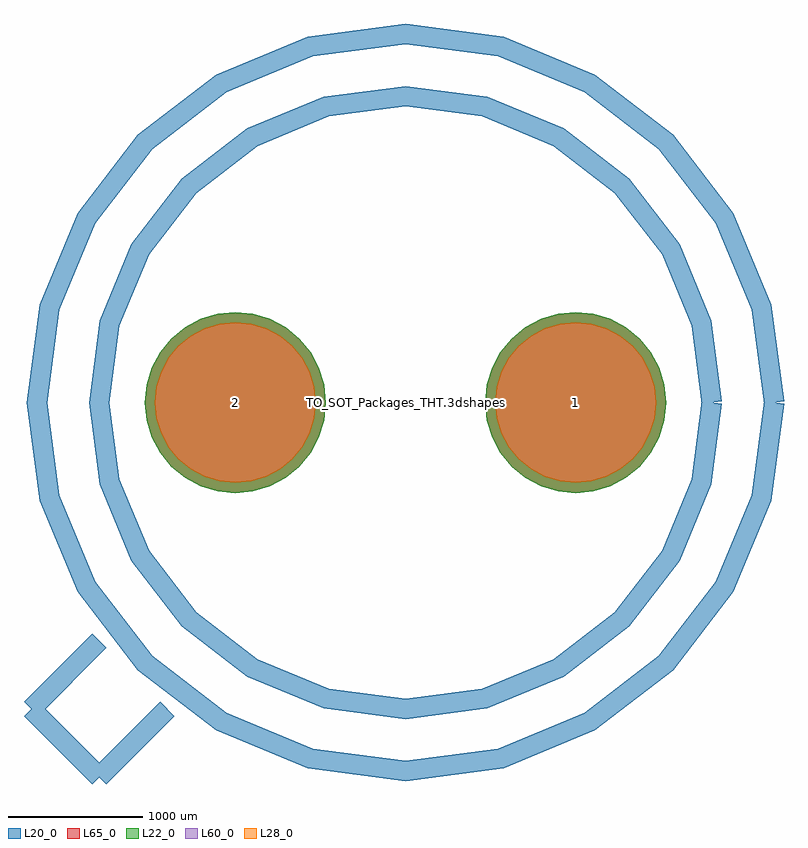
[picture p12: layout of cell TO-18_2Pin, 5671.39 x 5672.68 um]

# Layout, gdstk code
import gdstk
lib = gdstk.Library(unit=1e-6, precision=1e-09)
def P(c, l, *ps):  # polygons
    for p in ps: c.add(gdstk.Polygon(p, *l))
L20_0 = (20, 0)
L22_0 = (22, 0)
L28_0 = (28, 0)
L60_0 = (60, 0)
L65_0 = (65, 0)

to_18_2pin = lib.new_cell('TO-18_2Pin')
P(to_18_2pin, L22_0, [(1945,0),(1932.03,131.686),(1893.619,258.311),(1831.242,375.01),(1747.297,477.297),(1645.01,561.242),(1528.311,623.619),(1401.686,662.03),(1270,675),(1138.314,662.03),(1011.689,623.619),(894.99,561.242),(792.703,477.297),(708.758,375.01),(646.381,258.311),(607.97,131.686),(595,0),(607.97,-131.686),(646.381,-258.311),(708.758,-375.01),(792.703,-477.297),(894.99,-561.242),(1011.689,-623.619),(1138.314,-662.03),(1270,-675),(1401.686,-662.03),(1528.311,-623.619),(1645.01,-561.242),(1747.297,-477.297),(1831.242,-375.01),(1893.619,-258.311),(1932.03,-131.686)],
  [(-595,0),(-607.97,131.686),(-646.381,258.311),(-708.758,375.01),(-792.703,477.297),(-894.99,561.242),(-1011.689,623.619),(-1138.314,662.03),(-1270,675),(-1401.686,662.03),(-1528.311,623.619),(-1645.01,561.242),(-1747.297,477.297),(-1831.242,375.01),(-1893.619,258.311),(-1932.03,131.686),(-1945,0),(-1932.03,-131.686),(-1893.619,-258.311),(-1831.242,-375.01),(-1747.297,-477.297),(-1645.01,-561.242),(-1528.311,-623.619),(-1401.686,-662.03),(-1270,-675),(-1138.314,-662.03),(-1011.689,-623.619),(-894.99,-561.242),(-792.703,-477.297),(-708.758,-375.01),(-646.381,-258.311),(-607.97,-131.686)])
P(to_18_2pin, L28_0, [(1870,0),(1858.471,117.054),(1824.328,229.61),(1768.882,333.342),(1694.264,424.264),(1603.342,498.882),(1499.61,554.328),(1387.054,588.471),(1270,600),(1152.946,588.471),(1040.39,554.328),(936.658,498.882),(845.736,424.264),(771.118,333.342),(715.672,229.61),(681.529,117.054),(670,0),(681.529,-117.054),(715.672,-229.61),(771.118,-333.342),(845.736,-424.264),(936.658,-498.882),(1040.39,-554.328),(1152.946,-588.471),(1270,-600),(1387.054,-588.471),(1499.61,-554.328),(1603.342,-498.882),(1694.264,-424.264),(1768.882,-333.342),(1824.328,-229.61),(1858.471,-117.054)],
  [(-670,0),(-681.529,117.054),(-715.672,229.61),(-771.118,333.342),(-845.736,424.264),(-936.658,498.882),(-1040.39,554.328),(-1152.946,588.471),(-1270,600),(-1387.054,588.471),(-1499.61,554.328),(-1603.342,498.882),(-1694.264,424.264),(-1768.882,333.342),(-1824.328,229.61),(-1858.471,117.054),(-1870,0),(-1858.471,-117.054),(-1824.328,-229.61),(-1768.882,-333.342),(-1694.264,-424.264),(-1603.342,-498.882),(-1499.61,-554.328),(-1387.054,-588.471),(-1270,-600),(-1152.946,-588.471),(-1040.39,-554.328),(-936.658,-498.882),(-845.736,-424.264),(-771.118,-333.342),(-715.672,-229.61),(-681.529,-117.054)])
P(to_18_2pin, L60_0, [(1870,0),(1858.471,117.054),(1824.328,229.61),(1768.882,333.342),(1694.264,424.264),(1603.342,498.882),(1499.61,554.328),(1387.054,588.471),(1270,600),(1152.946,588.471),(1040.39,554.328),(936.658,498.882),(845.736,424.264),(771.118,333.342),(715.672,229.61),(681.529,117.054),(670,0),(681.529,-117.054),(715.672,-229.61),(771.118,-333.342),(845.736,-424.264),(936.658,-498.882),(1040.39,-554.328),(1152.946,-588.471),(1270,-600),(1387.054,-588.471),(1499.61,-554.328),(1603.342,-498.882),(1694.264,-424.264),(1768.882,-333.342),(1824.328,-229.61),(1858.471,-117.054)],
  [(-670,0),(-681.529,117.054),(-715.672,229.61),(-771.118,333.342),(-845.736,424.264),(-936.658,498.882),(-1040.39,554.328),(-1152.946,588.471),(-1270,600),(-1387.054,588.471),(-1499.61,554.328),(-1603.342,498.882),(-1694.264,424.264),(-1768.882,333.342),(-1824.328,229.61),(-1858.471,117.054),(-1870,0),(-1858.471,-117.054),(-1824.328,-229.61),(-1768.882,-333.342),(-1694.264,-424.264),(-1603.342,-498.882),(-1499.61,-554.328),(-1387.054,-588.471),(-1270,-600),(-1152.946,-588.471),(-1040.39,-554.328),(-936.658,-498.882),(-845.736,-424.264),(-771.118,-333.342),(-715.672,-229.61),(-681.529,-117.054)])
P(to_18_2pin, L65_0, [(1945,0),(1932.03,131.686),(1893.619,258.311),(1831.242,375.01),(1747.297,477.297),(1645.01,561.242),(1528.311,623.619),(1401.686,662.03),(1270,675),(1138.314,662.03),(1011.689,623.619),(894.99,561.242),(792.703,477.297),(708.758,375.01),(646.381,258.311),(607.97,131.686),(595,0),(607.97,-131.686),(646.381,-258.311),(708.758,-375.01),(792.703,-477.297),(894.99,-561.242),(1011.689,-623.619),(1138.314,-662.03),(1270,-675),(1401.686,-662.03),(1528.311,-623.619),(1645.01,-561.242),(1747.297,-477.297),(1831.242,-375.01),(1893.619,-258.311),(1932.03,-131.686)],
  [(-595,0),(-607.97,131.686),(-646.381,258.311),(-708.758,375.01),(-792.703,477.297),(-894.99,561.242),(-1011.689,623.619),(-1138.314,662.03),(-1270,675),(-1401.686,662.03),(-1528.311,623.619),(-1645.01,561.242),(-1747.297,477.297),(-1831.242,375.01),(-1893.619,258.311),(-1932.03,131.686),(-1945,0),(-1932.03,-131.686),(-1893.619,-258.311),(-1831.242,-375.01),(-1747.297,-477.297),(-1645.01,-561.242),(-1528.311,-623.619),(-1401.686,-662.03),(-1270,-675),(-1138.314,-662.03),(-1011.689,-623.619),(-894.99,-561.242),(-792.703,-477.297),(-708.758,-375.01),(-646.381,-258.311),(-607.97,-131.686)])
to_18_2pin.add(gdstk.FlexPath([(2750,0),(2656.296,711.752),(2381.57,1375),(1944.544,1944.544),(1375,2381.57),(711.752,2656.296),(0,2750),(-711.752,2656.296),(-1375,2381.57),(-1944.544,1944.544),(-2381.57,1375),(-2656.296,711.752),(-2750,0),(-2656.296,-711.752),(-2381.57,-1375),(-1944.544,-1944.544),(-1375,-2381.57),(-711.752,-2656.296),(0,-2750),(711.752,-2656.296),(1375,-2381.57),(1944.544,-1944.544),(2381.57,-1375),(2656.296,-711.752),(2750,0)], 149.998, ends="flush", simple_path=True, layer=20, datatype=0))  # L20_0
to_18_2pin.add(gdstk.FlexPath([(2286,0),(2208.106,591.66),(1979.734,1143),(1616.446,1616.446),(1143,1979.734),(591.66,2208.106),(0,2286),(-591.66,2208.106),(-1143,1979.734),(-1616.446,1616.446),(-1979.734,1143),(-2208.106,591.66),(-2286,0),(-2208.106,-591.66),(-1979.734,-1143),(-1616.446,-1616.446),(-1143,-1979.734),(-591.66,-2208.106),(0,-2286),(591.66,-2208.106),(1143,-1979.734),(1616.446,-1616.446),(1979.734,-1143),(2208.106,-591.66),(2286,0)], 149.998, ends="flush", simple_path=True, layer=20, datatype=0))  # L20_0
to_18_2pin.add(gdstk.FlexPath([(-2286,-2794),(-2794,-2286)], 149.998, ends="flush", simple_path=True, layer=20, datatype=0))  # L20_0
to_18_2pin.add(gdstk.FlexPath([(-1778,-2286),(-2286,-2794)], 149.998, ends="flush", simple_path=True, layer=20, datatype=0))  # L20_0
to_18_2pin.add(gdstk.FlexPath([(-2794,-2286),(-2286,-1778)], 149.998, ends="flush", simple_path=True, layer=20, datatype=0))  # L20_0
to_18_2pin.add(gdstk.Label('TO_SOT_Packages_THT.3dshapes/TO-18_2Pin.wrl', (0,0), layer=12, texttype=0))
to_18_2pin.add(gdstk.Label('1', (1270,0), layer=28, texttype=0))
to_18_2pin.add(gdstk.Label('2', (-1270,0), layer=28, texttype=0))
to_18_2pin.add(gdstk.Label('type', (0,-4826), layer=9, texttype=0))
to_18_2pin.add(gdstk.Label('devicename', (254,4826), layer=9, texttype=0))

lib.write_gds('TO-18_2Pin.gds')
